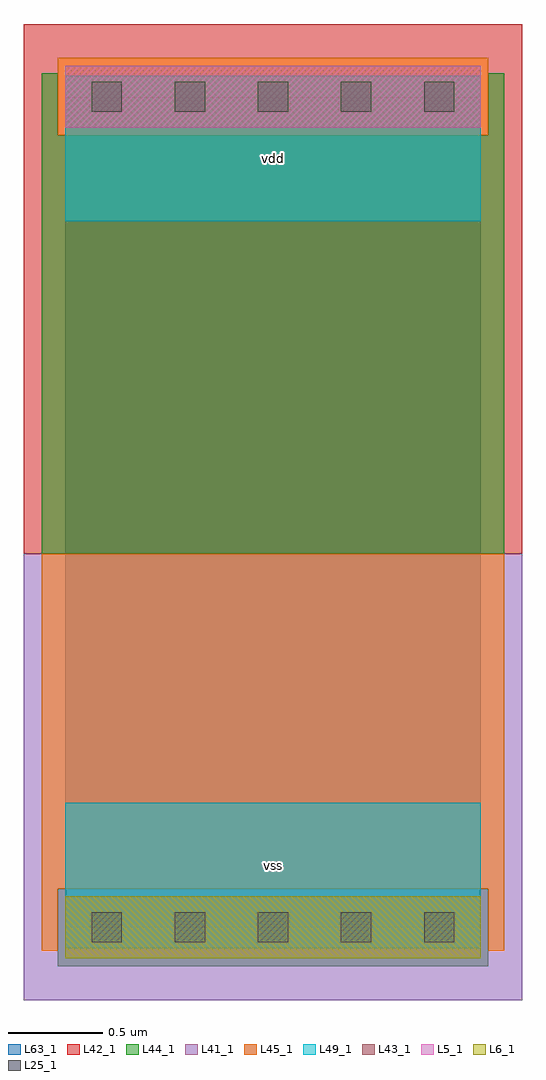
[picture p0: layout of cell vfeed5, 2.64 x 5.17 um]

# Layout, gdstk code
import gdstk
lib = gdstk.Library(unit=1e-6, precision=1e-09)
def R(c, l, rs):  # rectangles x0, y0, x1, y1
    for r in rs: c.add(gdstk.rectangle(r[:2], r[2:], *l))
def A(c, l, x, y, w, h, nx, ny, dx, dy):  # array of equal rectangles
    R(c, l, [(x+i*dx, y+j*dy, x+i*dx+w, y+j*dy+h) for i in range(nx) for j in range(ny)])
L5_1 = (5, 1)
L6_1 = (6, 1)
L25_1 = (25, 1)
L41_1 = (41, 1)
L42_1 = (42, 1)
L43_1 = (43, 1)
L44_1 = (44, 1)
L45_1 = (45, 1)
L49_1 = (49, 1)
L63_1 = (63, 1)

vfeed5 = lib.new_cell('vfeed5')
R(vfeed5, L5_1, [(0,4.235,2.2,4.565)])
R(vfeed5, L6_1, [(0,-0.165,2.2,0.165)])
A(vfeed5, L25_1, 0.14, -0.08, 0.16, 0.16, 5, 2, 0.44, 4.4)
R(vfeed5, L41_1, [(-0.22,-0.385,2.42,1.98)])
R(vfeed5, L42_1, [(-0.22,1.98,2.42,4.785)])
R(vfeed5, L43_1, [(0,-0.165,2.2,0.165), (0,4.235,2.2,4.565)])
R(vfeed5, L44_1, [(-0.04,-0.205,2.24,0.205), (-0.125,1.98,2.325,4.195), (-0.125,4.195,-0.04,4.525), (2.24,4.195,2.325,4.525)])
R(vfeed5, L45_1, [(-0.125,-0.125,-0.04,0.205), (2.24,-0.125,2.325,0.205), (-0.125,0.205,2.325,1.98), (-0.04,4.195,2.24,4.605)])
R(vfeed5, L49_1, [(0,-0.11,2.2,0.66), (0,3.74,2.2,4.51)])
R(vfeed5, L63_1, [(0,0,2.2,4.4)])
vfeed5.add(gdstk.Label('vss', (1.1,0.33), layer=49, texttype=1))
vfeed5.add(gdstk.Label('vdd', (1.1,4.07), layer=49, texttype=1))

lib.write_gds('vfeed5.gds')
